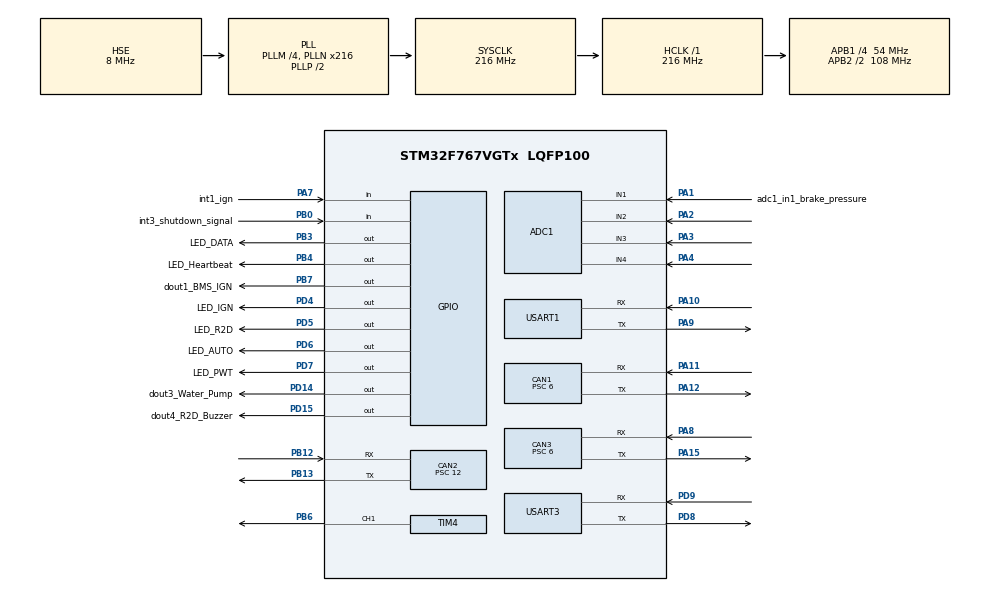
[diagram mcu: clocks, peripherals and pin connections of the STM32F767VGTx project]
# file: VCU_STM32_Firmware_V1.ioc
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ADC1.Channel-0\#ChannelRegularConversion=ADC_CHANNEL_1
ADC1.ContinuousConvMode=ENABLE
ADC1.DMAContinuousRequests=ENABLE
ADC1.EOCSelection=ADC_EOC_SEQ_CONV
ADC1.InjNumberOfConversion=0
ADC1.NbrOfConversion=1
ADC1.NbrOfConversionFlag=1
ADC1.Rank-0\#ChannelRegularConversion=1
ADC1.SamplingTime-0\#ChannelRegularConversion=ADC_SAMPLETIME_480CYCLES
ADC1.ScanConvMode=ADC_SCAN_ENABLE
ADC1.master=1
CAN1.ABOM=ENABLE
CAN1.BS1=CAN_BS1_6TQ
CAN1.BS2=CAN_BS2_2TQ
CAN1.CalculateBaudRate=1000000
CAN1.CalculateTimeBit=1000
CAN1.CalculateTimeQuantum=111.11111111111111
CAN1.NART=ENABLE
CAN1.Prescaler=6
CAN1.SJW=CAN_SJW_2TQ
CAN2.ABOM=ENABLE
CAN2.BS1=CAN_BS1_7TQ
CAN2.BS2=CAN_BS2_1TQ
CAN2.CalculateBaudRate=500000
CAN2.CalculateTimeBit=2000
CAN2.CalculateTimeQuantum=222.22222222222223
CAN2.NART=ENABLE
CAN2.Prescaler=12
CAN2.SJW=CAN_SJW_2TQ
CAN3.ABOM=ENABLE
CAN3.BS1=CAN_BS1_6TQ
CAN3.BS2=CAN_BS2_2TQ
CAN3.CalculateBaudRate=1000000
CAN3.CalculateTimeBit=1000
CAN3.CalculateTimeQuantum=111.11111111111111
CAN3.NART=ENABLE
CAN3.Prescaler=6
CAN3.SJW=CAN_SJW_2TQ
CORTEX_M7.BaseAddress-Cortex_Memory_Protection_Unit_Region0_Settings=0x30000000
CORTEX_M7.CPU_DCache=Enabled
CORTEX_M7.CPU_ICache=Enabled
CORTEX_M7.DisableExec-Cortex_Memory_Protection_Unit_Region0_Settings=MPU_INSTRUCTION_ACCESS_DISABLE
CORTEX_M7.Enable-Cortex_Memory_Protection_Unit_Region0_Settings=MPU_REGION_ENABLE
CORTEX_M7.IsShareable-Cortex_Memory_Protection_Unit_Region0_Settings=MPU_ACCESS_SHAREABLE
CORTEX_M7.MPU_Control=MPU_PRIVILEGED_DEFAULT
Dma.ADC1.0.Direction=DMA_PERIPH_TO_MEMORY
Dma.ADC1.0.FIFOMode=DMA_FIFOMODE_DISABLE
Dma.ADC1.0.Instance=DMA2_Stream0
Dma.ADC1.0.MemDataAlignment=DMA_MDATAALIGN_HALFWORD
Dma.ADC1.0.MemInc=DMA_MINC_ENABLE
Dma.ADC1.0.Mode=DMA_CIRCULAR
Dma.ADC1.0.PeriphDataAlignment=DMA_PDATAALIGN_HALFWORD
Dma.ADC1.0.PeriphInc=DMA_PINC_DISABLE
Dma.ADC1.0.Priority=DMA_PRIORITY_HIGH
Dma.Request0=ADC1
Mcu.Family=STM32F7
Mcu.Name=STM32F767VGTx
Mcu.Package=LQFP100
NVIC.ADC_IRQn=true\:0\:0\:false\:false\:true\:true\:true\:true
NVIC.CAN1_RX0_IRQn=true\:0\:0\:false\:false\:true\:true\:true\:true
NVIC.CAN2_RX0_IRQn=true\:0\:0\:false\:false\:true\:true\:true\:true
NVIC.CAN3_RX0_IRQn=true\:0\:0\:false\:false\:true\:true\:true\:true
NVIC.DMA2_Stream0_IRQn=true\:0\:0\:false\:false\:true\:false\:true\:true
NVIC.PriorityGroup=NVIC_PRIORITYGROUP_4
NVIC.TIM2_IRQn=true\:0\:0\:false\:false\:true\:true\:true\:true
PA1.GPIO_Label=adc1_in1_brake_pressure
PA1.Signal=ADCx_IN1
PA10.Mode=Asynchronous
PA10.Signal=USART1_RX
PA11.GPIO_PuPd=GPIO_NOPULL
PA11.GPIO_Speed=GPIO_SPEED_FREQ_MEDIUM
PA11.Mode=CAN_Activate
PA11.Signal=CAN1_RX
PA12.GPIO_Speed=GPIO_SPEED_FREQ_MEDIUM
PA12.Mode=CAN_Activate
PA12.Signal=CAN1_TX
PA13.Mode=Serial_Wire
PA13.Signal=SYS_JTMS-SWDIO
PA14.Mode=Serial_Wire
PA14.Signal=SYS_JTCK-SWCLK
PA15.GPIO_Speed=GPIO_SPEED_FREQ_MEDIUM
PA15.Mode=CAN_Activate
PA15.Signal=CAN3_TX
PA2.Signal=ADCx_IN2
PA3.Signal=ADCx_IN3
PA4.Signal=ADCx_IN4
PA7.GPIO_Label=int1_ign
PA7.Signal=GPIO_Input
PA8.GPIO_Mode=GPIO_MODE_AF_PP
PA8.GPIO_PuPd=GPIO_NOPULL
PA8.GPIO_Speed=GPIO_SPEED_FREQ_MEDIUM
PA8.Mode=CAN_Activate
PA8.Signal=CAN3_RX
PA9.Mode=Asynchronous
PA9.Signal=USART1_TX
PB0.GPIO_Label=int3_shutdown_signal
PB0.GPIO_PuPd=GPIO_PULLDOWN
PB0.Signal=GPIO_Input
PB12.GPIO_PuPd=GPIO_NOPULL
PB12.GPIO_Speed=GPIO_SPEED_FREQ_MEDIUM
PB12.Mode=CAN_Activate
PB12.Signal=CAN2_RX
PB13.GPIO_Speed=GPIO_SPEED_FREQ_MEDIUM
PB13.Mode=CAN_Activate
PB13.Signal=CAN2_TX
PB3.GPIO_Label=LED_DATA
PB3.Signal=GPIO_Output
PB4.GPIO_Label=LED_Heartbeat
PB4.Signal=GPIO_Output
PB6.Signal=S_TIM4_CH1
PB7.GPIO_Label=dout1_BMS_IGN
PB7.PinState=GPIO_PIN_RESET
PB7.Signal=GPIO_Output
PD14.GPIO_Label=dout3_Water_Pump
PD14.Signal=GPIO_Output
PD15.GPIO_Label=dout4_R2D_Buzzer
PD15.GPIO_Speed=GPIO_SPEED_FREQ_VERY_HIGH
PD15.Signal=GPIO_Output
PD4.GPIO_Label=LED_IGN
PD4.Signal=GPIO_Output
PD5.GPIO_Label=LED_R2D
PD5.Signal=GPIO_Output
PD6.GPIO_Label=LED_AUTO
PD6.Signal=GPIO_Output
PD7.GPIO_Label=LED_PWT
PD7.Signal=GPIO_Output
PD8.Mode=Asynchronous
PD8.Signal=USART3_TX
PD9.Mode=Asynchronous
PD9.Signal=USART3_RX
PH0/OSC_IN.Mode=HSE-External-Oscillator
PH0/OSC_IN.Signal=RCC_OSC_IN
PH1/OSC_OUT.Mode=HSE-External-Oscillator
PH1/OSC_OUT.Signal=RCC_OSC_OUT
ProjectManager.HeapSize=0x200
ProjectManager.StackSize=0x400
ProjectManager.TargetToolchain=STM32CubeIDE
RCC.AHBFreq_Value=216000000
RCC.APB1CLKDivider=RCC_HCLK_DIV4
RCC.APB1Freq_Value=54000000
RCC.APB1TimFreq_Value=108000000
RCC.APB2CLKDivider=RCC_HCLK_DIV2
RCC.APB2Freq_Value=108000000
RCC.APB2TimFreq_Value=216000000
RCC.CortexFreq_Value=216000000
RCC.HCLKFreq_Value=216000000
RCC.HSE_VALUE=8000000
RCC.HSI_VALUE=16000000
RCC.LSE_VALUE=32768
RCC.PLLM=4
RCC.PLLN=216
RCC.PLLSourceVirtual=RCC_PLLSOURCE_HSE
RCC.SYSCLKFreq_VALUE=216000000
RCC.SYSCLKSource=RCC_SYSCLKSOURCE_PLLCLK
RCC.USBFreq_Value=216000000
RCC.VCOOutputFreq_Value=432000000
SH.ADCx_IN1.0=ADC1_IN1,IN1
SH.ADCx_IN2.0=ADC1_IN2,IN2
SH.ADCx_IN3.0=ADC1_IN3,IN3
SH.ADCx_IN4.0=ADC1_IN4,IN4
SH.S_TIM4_CH1.0=TIM4_CH1,PWM Generation1 CH1
TIM1.Channel-PWM\ Generation1\ No\ Output=TIM_CHANNEL_1
TIM1.Prescaler=108-1
TIM2.Period=1000
TIM2.Prescaler=1080
TIM4.Channel-PWM\ Generation1\ CH1=TIM_CHANNEL_1
TIM4.OCPolarity_1=TIM_OCPOLARITY_HIGH
TIM4.Period=1080
TIM4.Prescaler=1080
USART1.VirtualMode-Asynchronous=VM_ASYNC
USART3.VirtualMode-Asynchronous=VM_ASYNC
VP_TIM1_VS_no_output1.Mode=PWM Generation1 No Output
VP_TIM2_VS_ClockSourceINT.Mode=Internal
VP_TIM4_VS_ClockSourceINT.Mode=Internal
board=custom

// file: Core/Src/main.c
/* USER CODE BEGIN Header */
/**
 ******************************************************************************
 * @file           : main.c
 * @brief          : Main program body
 ******************************************************************************
 * @attention
 *
 * Copyright (c) 2025 STMicroelectronics.
 * All rights reserved.
 *
 * This software is licensed under terms that can be found in the LICENSE file
 * in the root directory of this software component.
 * If no LICENSE file comes with this software, it is provided AS-IS.
 *
 ******************************************************************************
 */
/* USER CODE END Header */
#include "main.h"
#include "adc.h"
#include "can.h"
#include "dma.h"
#include "tim.h"
#include "usart.h"
#include "gpio.h"

/* USER CODE BEGIN Includes */
/* -------------------- CONFIGURATION DEFINES -------------------- */
// All APPS settings (calibration, hysteresis, moving average, CAN timeout) are in APPS.h
/*----CAN SAFETY TIMEOUTS----*/
// UNCOMMENT IF YOU WANT COMMUNICATIONS CHECKS ON R2D
// #define MAX_R2D_IGN_TIMEOUT_MS 50 //TIMEOUT for IGN and R2D loss of communication
/*---------------------------*/

// Throttle control (map, regen, torque ramp, BSPD override) is in throttle_control.h

#define print_state 0
#define print_variables 0
#define print_apps 0

#define CAN_DATA_BUS &hcan1
#define CAN_POWERTRAIN_BUS &hcan2
#define CAN_AUTONOMOUS &hcan3

/* BYPASS VARIABLES*/
// Bypass_brake_pressure and BRAKE_PRESSURE_THRESHOLD now live in CAN_utils.h -
// the R2D brake gate is applied in CAN_utils.c, not here.
#define Bypass_precharge 0

#define SHUTDOWN_DEBOUNCE_TIME_MS 50  // Shutdown signal debounce time in milliseconds
#define IGNITION_DEBOUNCE_TIME_MS 50  // Ignition switch debounce time in milliseconds

#define MAX_RPM_AD 1800  // 44.17 km/h
#define AS_CMD_TIMEOUT_MS 500  // No RPM/torque target from the Jetson for this long -> zero current

#define PUTCHAR_PROTOTYPE int __io_putchar(int ch)

#pragma region Includes
/* -------------------- STANDARD INCLUDES -------------------- */
#include <stdbool.h>
#include <stdint.h>
#include <stdio.h>
#include <stm32f767xx.h>
#include <stm32f7xx_hal_can.h>
#include <stm32f7xx_hal_cortex.h>
#include <string.h>

/* -------------------- PROJECT INCLUDES -------------------- */
#include "../Inc/proportional_integral_controller.h"
#include "APPS.h"
#include "CAN_utils.h"
#include "bspd.h"
#include "can_driver.h"
#include "can_queue.h"
#include "pau_control.h"
#include "throttle_control.h"
#include "traction_control_torque_vectoring.h"

#pragma endregion Includes
/* -------------------- GLOBAL VARIABLES -------------------- */
#pragma region Global Variables
// ADC buffers
__attribute__((section(".adcarray")))  uint16_t ADC1_VAL[4];
//__attribute__((section(".adcarray"))) uint16_t ADC2_APPS[2];  // ADC2_IN5(apps 1) and ADC2_IN6(apps 2)

// APPS moving average variables
uint16_t apps1_buffer[APPS_MA_WINDOW_SIZE];
uint16_t apps2_buffer[APPS_MA_WINDOW_SIZE];
uint8_t apps_buffer_pos = 0;
uint16_t apps1_avg = 0;
uint16_t apps2_avg = 0;

// UNCOMMENT IF YOU WANT COMMUNICATIONS CHECKS ON R2D
// volatile uint32_t last_r2d_ign_can_rx_time = 0; //keeps track of the last time a valid 0x740 message came through

int value = 0;

// CAN variables
CAN_TxHeaderTypeDef TxHeader_CAN1;
uint8_t TxData_CAN1[8];
uint32_t TxMailbox_CAN1;

CAN_TxHeaderTypeDef TxHeader_CAN2;
uint8_t TxData_CAN2[8];
uint32_t TxMailbox_CAN2;

CAN_TxHeaderTypeDef TxHeader_CAN3;
uint8_t TxData_CAN3[8];
uint32_t TxMailbox_CAN3;

CAN_RxHeaderTypeDef RxHeader;
uint8_t RxData[8];

can_data_t can_data1;  // CAN data structure for CAN1
can_data_t can_data2;  // CAN data structure for CAN2
can_data_t can_data3;  // CAN data structure for CAN3

volatile bool can1_rx_flag = false;
volatile bool can2_rx_flag = false;
volatile bool can3_rx_flag = false;

APPS_Result_t result = { 0 };  // Result structure for APPS processing

bspd_state_t bspd_state;

// vars on can utils file
volatile FSIC_t myFSIC1;  // Rear-left inverter
volatile FSIC_t myFSIC2;  // Rear-right inverter
volatile AS_System_t as_system;
volatile ACU_t acu;
volatile RES_t res;
volatile BMSvars_t bms;
volatile IVT_t ivt;

/* -------------------- STATE MACHINE DEFINITIONS -------------------- */
// State machine variables
VCU_STATE_t current_state = STATE_INIT;   // Current state of the VCU
VCU_STATE_t previous_state = STATE_INIT;  // Previous state of the VCU

// State names for debug output
const char *state_names[] = { "STATE_INIT", "STATE_SHUTDOWN", "STATE_STANDBY", "STATE_PRECHARGE", "STATE_WAITING_FOR_R2D_MANUAL", "STATE_WAITING_FOR_R2D_AUTO", "STATE_READY_MANUAL", "STATE_READY_AUTONOMOUS", "STATE_AS_EMERGENCY" };

//Loop-Counter
#define TEST_TIMEFRAME_SECONDS 600
uint32_t loop_counter = 0;
uint32_t sec = 0;
uint32_t loops_per_sec = 0;
uint32_t loop_DATA[TEST_TIMEFRAME_SECONDS];

#pragma endregion Global Variables

/* USER CODE END Includes */

void SystemClock_Config(void);
static void MPU_Config(void);
/* USER CODE BEGIN PFP */
void HAL_ADC_ConvCpltCallback(ADC_HandleTypeDef *hadc) {
	// Process the data
}

// Timed task function declarations
void execute_10ms_tasks(void);
void execute_100ms_tasks(void);
void execute_immediate_tasks(void);
void process_can_rx_queues(void);

// Button debounce function declaration
// void debounce_r2d_button(void);
void debounce_shutdown_signal(void);
// void debounce_ignition_switch(void);
#pragma endregion Function Prototypes
/* USER CODE END PFP */

/* USER CODE BEGIN 0 */

/* -------------------- SENSOR FUNCTIONS -------------------- */
/**
 * @brief Measure the brake pressure from an ADC reading
 * @param bits Raw ADC value (12-bit resolution, 0-4095)
 * @return Calculated brake pressure in bar
 * @details Converts ADC reading to voltage, then to pressure using calibration formula.
 *          Sensor characteristics: 28.57mV/bar with 0.5V offset (0 bar = 0.5V)
 */

/*
 float MeasureBrakePressure(uint16_t bits) {
 // Constants for clarity
 const float ADC_MAX = 4095.0f;
 const float MCU_VREF = 3.3f;             // MCU reference voltage
 const float SENSOR_VREF = 5.0f;          // Sensor reference voltage
 const float CONVERSION_FACTOR = 0.667f;  // Factor to convert 3.3V to 5V scale
 const float OFFSET_VOLTAGE = 0.5f;       // 0 bar = 0.5V
 const float SENSITIVITY = 0.02857f;      // 28.57mV/bar

 // Calculate voltage from ADC reading (0-3.3V range)
 float volts = (float)bits * MCU_VREF / ADC_MAX;

 // Scale to sensor voltage range (0-5V)
 volts = volts / CONVERSION_FACTOR;

 // Apply boundary checking for voltage
 if (volts < 0.0f) {
 volts = 0.0f;
 } else if (volts > SENSOR_VREF) {
 volts = SENSOR_VREF;
 }

 // Calculate pressure from voltage using calibration formula:
 // P(bar) = (V - 0.5V) / 0.02857V/bar
 float pressure = 0.0f;
 if (volts <= OFFSET_VOLTAGE) {
 pressure = 0.0f;  // Anything below offset voltage is 0 bar
 } else {
 pressure = (volts - OFFSET_VOLTAGE) / SENSITIVITY;
 }

 // Limit maximum pressure if needed
 const float MAX_PRESSURE = 250.0f;  // Maximum measurable pressure
 if (pressure > MAX_PRESSURE) {
 pressure = MAX_PRESSURE;
 }

 return pressure;  // Return the brake pressure in bar
 }*/

/**
 * @brief Controls the brake light based on brake pressure and regenerative braking
 * @param brake_pressure Current brake pressure in bar
 * @details Turns the brake light on when pressure exceeds minimum threshold
 *          or when regenerative braking is active (negative current from FSIC_t)
 */
void turn_on_brake_light(uint8_t brake_pressure) {
	// Define thresholds for brake light activation (can be adjusted as needed)
	const uint8_t BRAKE_LIGHT_THRESHOLD = 5;     // bar
	const int16_t REGEN_CURRENT_THRESHOLD = -2;  // Negative current threshold for regen braking (A)

	// Check if brake pressure exceeds threshold OR regenerative braking is active
	bool physical_braking = (brake_pressure >= BRAKE_LIGHT_THRESHOLD);
	// SAFETY-CRITICAL: Regen braking detection — sum DC current from both inverters
	int16_t total_dc_current = (int16_t) (myFSIC1.Actual_DCCurrent + myFSIC2.Actual_DCCurrent);
	bool regen_braking = (total_dc_current < REGEN_CURRENT_THRESHOLD);

	if (physical_braking || regen_braking) {
		// Turn brake light on
		HAL_GPIO_WritePin(dout1_BMS_IGN_GPIO_Port, dout1_BMS_IGN_Pin, GPIO_PIN_SET);
	} else {
		// Turn brake light off
		HAL_GPIO_WritePin(dout1_BMS_IGN_GPIO_Port, dout1_BMS_IGN_Pin, GPIO_PIN_RESET);
	}
}

/**
 * @brief Initialize moving average buffers for APPS
 */
void MovingAverage_Init(void) {
	for (int i = 0; i < APPS_MA_WINDOW_SIZE; i++) {
		apps1_buffer[i] = 0;
		apps2_buffer[i] = 0;
	}
	apps_buffer_pos = 0;
	apps1_avg = 0;
	apps2_avg = 0;
}

/**
 * @brief Update moving average with new APPS values
 * @param apps1_raw Raw value from APPS1 sensor
 * @param apps2_raw Raw value from APPS2 sensor
 * @return None, updates apps1_avg and apps2_avg global variables
 */
void MovingAverage_Update(uint16_t apps1_raw, uint16_t apps2_raw) {
	// Add new values to buffers
	apps1_buffer[apps_buffer_pos] = apps1_raw;
	apps2_buffer[apps_buffer_pos] = apps2_raw;

	// Update position for next entry
	apps_buffer_pos = (apps_buffer_pos + 1) % APPS_MA_WINDOW_SIZE;

	// Calculate averages
	uint32_t sum1 = 0;
	uint32_t sum2 = 0;

	for (int i = 0; i < APPS_MA_WINDOW_SIZE; i++) {
		sum1 += apps1_buffer[i];
		sum2 += apps2_buffer[i];
	}

	apps1_avg = (uint16_t) (sum1 / APPS_MA_WINDOW_SIZE);
	apps2_avg = (uint16_t) (sum2 / APPS_MA_WINDOW_SIZE);
}

/* -------------------- LED CONTROL FUNCTIONS -------------------- */
/**
 * @brief Heartbeat indicator with non-blocking double blink pattern
 * @param GPIO_Port GPIO port of the LED
 * @param GPIO_Pin GPIO pin of the LED
 */
void heartbeat_nonblocking(GPIO_TypeDef *GPIO_Port, uint16_t GPIO_Pin) {
	static uint32_t previous_tick = 0;
	static uint8_t state = 0;

	uint32_t current_tick = HAL_GetTick();

	// State transitions based on timing
	switch (state) {
	case 0:  // First blink ON
		HAL_GPIO_WritePin(GPIO_Port, GPIO_Pin, GPIO_PIN_SET);
		if (current_tick - previous_tick >= 100) {  // 100ms ON
			previous_tick = current_tick;
			state = 1;
		}
		break;

	case 1:  // First blink OFF
		HAL_GPIO_WritePin(GPIO_Port, GPIO_Pin, GPIO_PIN_RESET);
		if (current_tick - previous_tick >= 100) {  // 100ms OFF
			previous_tick = current_tick;
			state = 2;
		}
		break;

	case 2:  // Second blink ON
		HAL_GPIO_WritePin(GPIO_Port, GPIO_Pin, GPIO_PIN_SET);
		if (current_tick - previous_tick >= 100) {  // 100ms ON
			previous_tick = current_tick;
			state = 3;
		}
		break;

	case 3:  // Second blink OFF
		HAL_GPIO_WritePin(GPIO_Port, GPIO_Pin, GPIO_PIN_RESET);
		if (current_tick - previous_tick >= 100) {  // 100ms OFF
			previous_tick = current_tick;
			state = 4;
		}
		break;

	case 4:                                         // Long pause
		if (current_tick - previous_tick >= 500) {  // 500ms pause
			previous_tick = current_tick;
			state = 0;  // Restart cycle
		}
		break;
	}
}

/**
 * @brief LED startup animation
 * @note  This function performs a startup animation for the LEDs.
 */
void startup_leds_animation(void) {
	// LED startup animation
	HAL_GPIO_WritePin(GPIOD, LED_IGN_Pin, GPIO_PIN_SET);
	HAL_Delay(40);
	HAL_GPIO_WritePin(GPIOD, LED_R2D_Pin, GPIO_PIN_SET);
	HAL_Delay(40);
	HAL_GPIO_WritePin(GPIOD, LED_AUTO_Pin, GPIO_PIN_SET);
	HAL_Delay(40);
	HAL_GPIO_WritePin(GPIOD, LED_PWT_Pin, GPIO_PIN_SET);
	HAL_Delay(40);
	HAL_GPIO_WritePin(GPIOB, LED_DATA_Pin, GPIO_PIN_SET);
	HAL_Delay(40);
	HAL_GPIO_WritePin(GPIOB, LED_Heartbeat_Pin, GPIO_PIN_SET);
	HAL_Delay(350);
	HAL_GPIO_WritePin(GPIOB, LED_Heartbeat_Pin, GPIO_PIN_RESET);
	HAL_Delay(40);
	HAL_GPIO_WritePin(GPIOB, LED_DATA_Pin, GPIO_PIN_RESET);
	HAL_Delay(40);
	HAL_GPIO_WritePin(GPIOD, LED_PWT_Pin, GPIO_PIN_RESET);
	HAL_Delay(40);
	HAL_GPIO_WritePin(GPIOD, LED_AUTO_Pin, GPIO_PIN_RESET);
	HAL_Delay(40);
	HAL_GPIO_WritePin(GPIOD, LED_R2D_Pin, GPIO_PIN_RESET);
	HAL_Delay(40);
	HAL_GPIO_WritePin(GPIOD, LED_IGN_Pin, GPIO_PIN_RESET);
	HAL_Delay(40);

	// Turn off all LEDs
	HAL_GPIO_WritePin(GPIOD, LED_IGN_Pin, GPIO_PIN_RESET);
	HAL_GPIO_WritePin(GPIOD, LED_R2D_Pin, GPIO_PIN_RESET);
	HAL_GPIO_WritePin(GPIOD, LED_AUTO_Pin, GPIO_PIN_RESET);
	HAL_GPIO_WritePin(GPIOD, LED_PWT_Pin, GPIO_PIN_RESET);
	HAL_GPIO_WritePin(GPIOB, LED_DATA_Pin, GPIO_PIN_RESET);
}

/**
 * @brief Fade LED in and out using software PWM
 * @param GPIO_Port GPIO port of the LED
 * @param GPIO_Pin GPIO pin of the LED
 */
void led_fade_nonblocking(GPIO_TypeDef *GPIO_Port, uint16_t GPIO_Pin) {
	static uint32_t last_update_time = 0;
	static uint32_t fade_counter = 0;
	static uint32_t pwm_counter = 0;
	static const uint32_t PWM_PERIOD = 5;    // PWM period for software PWM
	static const uint32_t FADE_PERIOD = 50;  // How fast the LED brightness changes

	uint32_t current_time = HAL_GetTick();

	// Update fade counter (determines brightness level)
	if (current_time - last_update_time >= FADE_PERIOD) {
		fade_counter = (fade_counter + 1) % 200;  // 0-199 range for smooth transition
		last_update_time = current_time;
		pwm_counter = 0;  // Reset PWM counter on brightness change
	}

	// Calculate current brightness level (0-100)
	uint32_t brightness;
	if (fade_counter < 100) {
		brightness = fade_counter;  // Fade in (0-99)
	} else {
		brightness = 200 - fade_counter;  // Fade out (99-0)
	}

	// Implement software PWM
	pwm_counter = (pwm_counter + 2) % PWM_PERIOD;

	if (pwm_counter < brightness) {
		HAL_GPIO_WritePin(GPIO_Port, GPIO_Pin, GPIO_PIN_SET);  // Turn LED on
	} else {
		HAL_GPIO_WritePin(GPIO_Port, GPIO_Pin, GPIO_PIN_RESET);  // Turn LED off
	}
}

/**
 * @brief Update PWM value for LED fading effect using hardware timer
 * @param htim PWM timer handle
 * @param channel Timer channel to update
 */
void led_fade_pwm(TIM_HandleTypeDef *htim, uint32_t channel) {
	static uint32_t last_update_time = 0;
	static uint16_t brightness = 0;
	static int8_t direction = 1;                  // 1 = increasing, -1 = decreasing
	static const uint32_t FADE_PERIOD = 1;        // Update interval in ms
	static const uint16_t MAX_BRIGHTNESS = 1000;  // Maximum PWM value

	uint32_t current_time = HAL_GetTick();

	// Update PWM value at regular intervals
	if (current_time - last_update_time >= FADE_PERIOD) {
		last_update_time = current_time;

		// Update brightness based on current direction
		brightness += direction;

		// Change direction at limits
		if (brightness >= MAX_BRIGHTNESS) {
			direction = -1;  // Start decreasing
		} else if (brightness <= 0) {
			direction = 1;  // Start increasing
		}

		// Apply new PWM value (constraining to valid range)
		if (brightness > MAX_BRIGHTNESS)
			brightness = MAX_BRIGHTNESS;
		if (brightness < 0)
			brightness = 0;

		__HAL_TIM_SET_COMPARE(htim, channel, brightness);
	}
}

/* -------------------- R2D SOUND FUNCTIONS -------------------- */
/**
 * @brief Start playing the Ready-To-Drive sound
 * @details This function activates the buzzer to play the R2D sound
 *          as required by EV4.12 regulations (80-90 dBA, 1-3 seconds).
 */
void StartR2DSound(void) {
	// Activate only if not already playing
	if (!vcu.r2d_sound_playing && !vcu.r2d_sound_completed) {
		vcu.r2d_sound_playing = true;
		vcu.r2d_sound_start_time = HAL_GetTick();

		// Activate buzzer - set the GPIO pin that controls the buzzer
		HAL_GPIO_WritePin(GPIOD, dout4_R2D_Buzzer_Pin, GPIO_PIN_SET);

		DBG_PRINTF("\n\rR2D Sound: Started\n\r");
	}
}

/**
 * @brief Update the Ready-To-Drive sound state
 * @details Checks if R2D sound needs to be stopped based on timing
 *          requirements (1-3 seconds continuous sound).
 */
void UpdateR2DSound(void) {
	// If sound is playing, check if it's time to stop
	if (vcu.r2d_sound_playing) {
		uint32_t current_time = HAL_GetTick();
		uint32_t elapsed_time = current_time - vcu.r2d_sound_start_time;

		// Sound duration: 2 seconds (2000 ms)
		if (elapsed_time >= 1000) {
			// Stop the sound
			HAL_GPIO_WritePin(GPIOD, dout4_R2D_Buzzer_Pin, GPIO_PIN_RESET);
			vcu.r2d_sound_playing = false;
			vcu.r2d_sound_completed = true;

			DBG_PRINTF("\n\rR2D Sound: Completed\n\r");
		}
	}
}

/**
 * @brief Reset the Ready-To-Drive sound state
 * @details Resets the R2D sound flags when leaving a ready state.
 */
void ResetR2DSound(void) {
	vcu.r2d_sound_playing = false;
	vcu.r2d_sound_completed = false;
	HAL_GPIO_WritePin(GPIOD, dout4_R2D_Buzzer_Pin, GPIO_PIN_RESET);
}

/**
 * @brief Start playing the Emergency sound
 * @details This function activates the buzzer to play an intermittent emergency sound
 *          with frequency 1-5Hz, 50% duty cycle, for 8-10 seconds.
 */
void StartEmergencySound(void) {
	// Only start if not already playing
	if (!vcu.emergency_sound_playing && !vcu.emergency_sound_completed) {
		vcu.emergency_sound_playing = true;
		vcu.emergency_sound_start_time = HAL_GetTick();
		vcu.emergency_sound_last_toggle = HAL_GetTick();
		vcu.emergency_sound_state = true;  // Start with buzzer ON

		// Activate buzzer
		HAL_GPIO_WritePin(GPIOD, dout4_R2D_Buzzer_Pin, GPIO_PIN_SET);

		DBG_PRINTF("\n\rEmergency Sound: Started\n\r");
	}
}

/**
 * @brief Update the Emergency sound state
 * @details Manages the intermittent pattern (1-5Hz, 50% duty cycle) and duration (8-10s)
 *          of the emergency sound.
 */
void UpdateEmergencySound(void) {
	if (vcu.emergency_sound_playing) {
		uint32_t current_time = HAL_GetTick();
		uint32_t total_elapsed_time = current_time - vcu.emergency_sound_start_time;
		uint32_t toggle_elapsed_time = current_time - vcu.emergency_sound_last_toggle;

		// Using 2.5Hz frequency (200ms ON, 200ms OFF)
		const uint32_t TOGGLE_INTERVAL_MS = 200;

		// Toggle buzzer state at specified frequency (2.5Hz)
		if (toggle_elapsed_time >= TOGGLE_INTERVAL_MS) {
			vcu.emergency_sound_state = !vcu.emergency_sound_state;
			HAL_GPIO_WritePin(GPIOD, dout4_R2D_Buzzer_Pin, vcu.emergency_sound_state ? GPIO_PIN_SET : GPIO_PIN_RESET);
			vcu.emergency_sound_last_toggle = current_time;
		}

		// Total sound duration: 9 seconds
		const uint32_t EMERGENCY_SOUND_DURATION_MS = 9000;

		// Stop sound after duration completes
		if (total_elapsed_time >= EMERGENCY_SOUND_DURATION_MS) {
			// Stop the sound
			HAL_GPIO_WritePin(GPIOD, dout4_R2D_Buzzer_Pin, GPIO_PIN_RESET);
			vcu.emergency_sound_playing = false;
			vcu.emergency_sound_completed = true;

			DBG_PRINTF("\n\rEmergency Sound: Completed\n\r");
		}
	}
}

/**
 * @brief Reset the Emergency sound state
 * @details Resets the emergency sound flags when leaving the emergency state.
 */
void ResetEmergencySound(void) {
	vcu.emergency_sound_playing = false;
	vcu.emergency_sound_completed = false;
	vcu.emergency_sound_state = false;
	HAL_GPIO_WritePin(GPIOD, dout4_R2D_Buzzer_Pin, GPIO_PIN_RESET);
}

/**
 * @brief Handle emergency stop condition
 * @details Sounds the buzzer with required pattern if an emergency stop is detected
 */
void HandleEmergencyStop(void) {
	if ((acu.is_in_emergency == 1) || (as_system.state == 4) || (res.signal == 0)) {
		// Start emergency sound if not already playing or completed
		if (!vcu.emergency_sound_playing && !vcu.emergency_sound_completed) {
			StartEmergencySound();
			// Disable R2D state
			vcu.r2d_toggle_signal = false;
			vcu.r2d_autonomous_signal = false;
		}

		// Update emergency sound pattern
		UpdateEmergencySound();
	} else {
		// Reset emergency sound state when emergency condition clears
		ResetEmergencySound();
	}
}

/* -------------------- STATE MACHINE FUNCTIONS -------------------- */
/**
 * @brief Print state transition for debugging
 * @param from Previous state
 * @param to New state
 */
void print_state_transition(VCU_STATE_t from, VCU_STATE_t to) {
	DBG_PRINTF("\n\rState transition: %s -> %s\n", state_names[from], state_names[to]);
}

#pragma region UPDATE STATE

/**
 * @brief Update the state of the VCU based on inputs and conditions
 */
void UpdateState(void) {
	// Store current state for change detection
	previous_state = current_state;

	// Process emergency condition with highest priority
	if (((acu.is_in_emergency == 1) || (as_system.state == 4) || (res.signal == 0)) && current_state != STATE_AS_EMERGENCY) {
		// if ((acu.is_in_emergency == 1) || (as_system.state == 4) && current_state != STATE_AS_EMERGENCY) {
		current_state = STATE_AS_EMERGENCY;
	}

	// NO LONGER NEEDED
	debounce_shutdown_signal();  // Update shutdown signal with debounce
	// debounce_ignition_switch();         // Update ignition switch signal with debounce
	// Map ignition_ad directly from ACU signal
	vcu.ignition_ad = acu.ignition_ad;

	// State transitions
	switch (current_state) {
	case STATE_INIT:

		if (vcu.ignition_switch_signal || vcu.ignition_ad) {
			current_state = STATE_INIT;
		} else {
			current_state = STATE_STANDBY;  // Transition to standby state after initialization
		}

		break;

	case STATE_SHUTDOWN:
		// In shutdown state, wait for shutdown signal to be cleared and ignition to be off
		if (vcu.shutdown_signal && !vcu.ignition_switch_signal && !vcu.ignition_ad) {
			current_state = STATE_STANDBY;  // Transition to standby state
		}
		break;

	case STATE_STANDBY:
		// if precharge is request either for manual or autonomous mode start the precharge

		if (vcu.ignition_switch_signal && vcu.shutdown_signal && !acu.ASMS) {
			current_state = STATE_PRECHARGE;  // Transition to precharge state
			vcu.manual = true;                // Set manual mode
			vcu.autonomous = false;           // Clear autonomous mode
		} else if (vcu.ignition_ad && acu.ASMS && vcu.shutdown_signal) {
			current_state = STATE_PRECHARGE;  // Transition to precharge state
			vcu.manual = false;               // Clear manual mode
			vcu.autonomous = true;            // Set autonomous mode
		}
		break;

	case STATE_PRECHARGE:
		// when the precharge is done, wait for the ready to drive signal to start the ready to drive
		// either from manual or autonomous mode-

		// Check if precharge is complete
		if ((!vcu.ignition_switch_signal && !vcu.ignition_ad) || !vcu.shutdown_signal) {
			current_state = STATE_STANDBY;
			if (!vcu.shutdown_signal) {
				current_state = STATE_SHUTDOWN;
			}
		} else if (Bypass_precharge || bms.precharge_circuit_state == 16) {
			current_state = vcu.manual ? STATE_WAITING_FOR_R2D_MANUAL : STATE_WAITING_FOR_R2D_AUTO;
		}
		break;
	case STATE_WAITING_FOR_R2D_MANUAL:

		if (!vcu.ignition_switch_signal || !vcu.shutdown_signal) {
			current_state = STATE_STANDBY;
			if (!vcu.shutdown_signal) {
				current_state = STATE_SHUTDOWN;
			}
		} else if (vcu.r2d_toggle_signal) {
			// Brake-plausibility gate already applied in CAN_utils.c when the toggle flips
			current_state = STATE_READY_MANUAL;
		}
		break;

	case STATE_WAITING_FOR_R2D_AUTO:
		if (!vcu.ignition_ad || !vcu.shutdown_signal) {
			current_state = STATE_STANDBY;
			if (!vcu.shutdown_signal) {
				current_state = STATE_SHUTDOWN;
			}
		} else if (as_system.state == 3) {  // driving state
			current_state = STATE_READY_AUTONOMOUS;
		}
		break;

	case STATE_READY_MANUAL:
		// debounce_r2d_button();
		if (!vcu.ignition_switch_signal || !vcu.shutdown_signal) {
			// Change to standby if ignition is off
			current_state = STATE_STANDBY;
			if (!vcu.shutdown_signal) {
				current_state = STATE_SHUTDOWN;
			}
		} else if (!vcu.r2d_toggle_signal) {
			// Change to waiting for R2D manual if the button is pressed again
			current_state = STATE_WAITING_FOR_R2D_MANUAL;
		}
		break;

	case STATE_READY_AUTONOMOUS:
		// serve as gateway to the computer to send the commands to the inverter
		if (!vcu.ignition_ad) {
			current_state = STATE_STANDBY;
		} else if (as_system.state != 3 && as_system.state != 5) {
			current_state = STATE_WAITING_FOR_R2D_AUTO;
		}

		// as_system.state = 5 finish autonoma

		// if (!vcu.ignition_ad || !vcu.shutdown_signal) {
		//     current_state = STATE_STANDBY;
		//     if (!vcu.shutdown_signal) {
		//         current_state = STATE_SHUTDOWN;
		//     }
		// } else if (as_system.state != 3) {
		//     current_state = STATE_WAITING_FOR_R2D_AUTO;
		// }
		break;

	case STATE_AS_EMERGENCY:
		// printf("\n\rAS Emergency: %d\n\r", as_system.state);

		// Only exit emergency state when the 9-second sound has completed
		if (!(acu.is_in_emergency) && !(as_system.state == 4) && !(res.signal == 0)) {
			current_state = STATE_STANDBY;
			if (!vcu.shutdown_signal) {
				current_state = STATE_SHUTDOWN;
			}
		}

		// if (!vcu.ignition_ad || !vcu.shutdown_signal) {
		//     // current_state = STATE_STANDBY;
		//     // if (!vcu.shutdown_signal) {
		//     //     // so quando o tocar todo o som da emergencia é que vai para shutdown
		//     //     if (vcu.emergency_sound_completed) {
		//     //         current_state = STATE_SHUTDOWN;
		//     //     }
		//     // }
		// } else if (as_system.state != 4 && res.signal != 0) {
		//     current_state = STATE_STANDBY;
		// }

		// if (!vcu.ignition_ad || !vcu.shutdown_signal) {
		//     current_state = STATE_STANDBY;
		//     if (!vcu.shutdown_signal) {
		//         // so quando o tocar todo o som da emergencia é que vai para shutdown
		//         if (vcu.emergency_sound_completed) {
		//             current_state = STATE_SHUTDOWN;
		//         }
		//     }
		// } else if (as_system.state != 4 && res.signal != 0) {
		//     current_state = STATE_STANDBY;
		// }
		break;
	}

	// Execute entry actions when state has changed
	if (current_state != previous_state) {
#ifdef print_state
		print_state_transition(previous_state, current_state);
#endif
		// Leaving manual ready-to-drive (R2D off, ignition, shutdown, emergency): zero the
		// inverter current request so the inverters do not keep the last drive/regen command
		if (previous_state == STATE_READY_MANUAL || previous_state == STATE_READY_AUTONOMOUS) {
			throttle_control_stop(&hcan2);
		}

		// State entry actions
		switch (current_state) {
		case STATE_INIT:
			break;
		case STATE_SHUTDOWN:
		case STATE_STANDBY:
			can_bus_send_bms_close_contactors(0, &hcan2);
			// Reset critical flags when entering standby
			vcu.manual = false;
			vcu.autonomous = false;

			memset(&vcu, 0, sizeof(VCU_Signals_t));             // Reset all VCU signals
			memset((void*) &as_system, 0, sizeof(AS_System_t));  // Reset autonomous system state
			memset((void*) &acu, 0, sizeof(ACU_t));              // Reset ACU state
			// memset(&res, 0, sizeof(RES_t));              // Reset RES state
			// memset(&bms, 0, sizeof(BMSvars_t));  // Reset BMS variables
			memset((void*) &myFSIC1, 0, sizeof(FSIC_t));  // Reset FSIC INV1 variables
			memset((void*) &myFSIC2, 0, sizeof(FSIC_t));  // Reset FSIC INV2 variables

			vcu.r2d_toggle_signal = false;      // Reset R2D toggle signal
			vcu.r2d_autonomous_signal = false;  // Reset R2D autonomous signal
			ResetR2DSound();                    // Reset R2D sound state

			HAL_GPIO_WritePin(GPIOD, LED_IGN_Pin, GPIO_PIN_RESET);
			HAL_GPIO_WritePin(GPIOD, LED_R2D_Pin, GPIO_PIN_RESET);

			__HAL_TIM_SET_COMPARE(&htim4, TIM_CHANNEL_1, 0);  // Set PWM to 0% duty cycle
			break;

		case STATE_PRECHARGE:
			// Precharge state entry actions
			HAL_GPIO_WritePin(GPIOD, LED_IGN_Pin, GPIO_PIN_SET);  // Turn on ignition LED debug
			__HAL_TIM_SET_COMPARE(&htim4, TIM_CHANNEL_1, 0);      // Set PWM to 0% duty cycle

			break;

		case STATE_WAITING_FOR_R2D_AUTO:
		case STATE_WAITING_FOR_R2D_MANUAL:

			HAL_GPIO_WritePin(GPIOD, LED_R2D_Pin, GPIO_PIN_RESET);  // Turn off R2D LED
			ResetR2DSound();                                        // Reset R2D sound state

			break;

		case STATE_READY_MANUAL:
		case STATE_READY_AUTONOMOUS:

			throttle_control_reset();  // Start every drive with no torque and fresh ramps
			__HAL_TIM_SET_COMPARE(&htim4, TIM_CHANNEL_1, 1000);
			HAL_GPIO_WritePin(GPIOD, LED_R2D_Pin, GPIO_PIN_SET);
			StartR2DSound();

			break;

		case STATE_AS_EMERGENCY:
			can_bus_send_bms_close_contactors(0, &hcan2);

			break;
		}
	}
}
#pragma endregion UPDATE STATE

#pragma region HANDLE STATE
/**
 * @brief Handle actions specific to the current state
 */
void HandleState(void) {
	// Update R2D sound status if it's playing
	UpdateR2DSound();

	switch (current_state) {
	case STATE_INIT:
		// Initialization actions
		break;
	case STATE_SHUTDOWN:

		static uint32_t last_can_send_time_shutdown = 0;
		uint32_t current_time_shutdown = HAL_GetTick();
		if (current_time_shutdown - last_can_send_time_shutdown >= 1) {
			can_bus_send_bms_close_contactors(0, &hcan2);
			last_can_send_time_shutdown = current_time_shutdown;
		}

		break;

	case STATE_STANDBY:
		static uint32_t last_can_send_time_standby = 0;
		uint32_t current_time_standby = HAL_GetTick();
		if (current_time_standby - last_can_send_time_standby >= 1) {
			can_bus_send_bms_close_contactors(0, &hcan2);
			last_can_send_time_standby = current_time_standby;
		}

		break;

	case STATE_PRECHARGE:
		// Handle precharge process

		static uint32_t last_can_send_time_precharge = 0;
		uint32_t current_time_precharge = HAL_GetTick();
		if (current_time_precharge - last_can_send_time_precharge >= 10) {
			can_bus_send_bms_close_contactors(1, &hcan2);
			last_can_send_time_precharge = current_time_precharge;
		}

		break;

	case STATE_WAITING_FOR_R2D_MANUAL:
		// fade in and out the R2D LED
		led_fade_nonblocking(GPIOD, LED_R2D_Pin);
		led_fade_pwm(&htim4, TIM_CHANNEL_1);

		static uint32_t last_can_send_time_r2d_manual = 0;
		uint32_t current_time_r2d_manual = HAL_GetTick();
		if (current_time_r2d_manual - last_can_send_time_r2d_manual >= 10) {
			can_bus_send_bms_close_contactors(1, &hcan2);
			last_can_send_time_r2d_manual = current_time_r2d_manual;
		}

		break;

	case STATE_WAITING_FOR_R2D_AUTO:
		// Waiting indicator for autonomous mode
		led_fade_nonblocking(GPIOD, LED_R2D_Pin);
		led_fade_pwm(&htim4, TIM_CHANNEL_1);

		static uint32_t last_can_send_time_r2d_auto = 0;
		uint32_t current_time_r2d_auto = HAL_GetTick();

		if (current_time_r2d_auto - last_can_send_time_r2d_auto >= 10) {
			can_bus_send_bms_close_contactors(1, &hcan2);
			last_can_send_time_r2d_auto = current_time_r2d_auto;
		}
		break;

	case STATE_READY_MANUAL:
		// Process manual driving controls
		// Send pedal position to inverter

		static uint32_t last_can_send_time_manuel = 0;
		uint32_t current_time_manuel = HAL_GetTick();

		if (current_time_manuel - last_can_send_time_manuel >= 5) {
			can_bus_send_FSIC_SetDriveEnable(1, 1, &hcan2);  // INV1 drive enable
			can_bus_send_FSIC_SetDriveEnable(2, 1, &hcan2);  // INV2 drive enable

			// Pedal -> throttle map -> limits -> ramps -> digital BSPD (last), see throttle_control.h
			throttle_control_update(&result, bspd_state.bspd_active, (const FSIC_t*) &myFSIC1, (const FSIC_t*) &myFSIC2, ivt.result_W, current_time_manuel);
			throttle_control_send(&hcan2, current_time_manuel);

			can_bus_send_bms_close_contactors(1, &hcan2);
			last_can_send_time_manuel = current_time_manuel;
		}
		break;

	case STATE_READY_AUTONOMOUS:
		// Forward autonomous commands to inverter
		static uint32_t last_can_send_time_auto = 0;
		uint32_t current_time_auto = HAL_GetTick();

		if (current_time_auto - last_can_send_time_auto >= 10) {
			can_bus_send_FSIC_SetDriveEnable(1, 1, &hcan2);  // INV1 drive enable
			can_bus_send_FSIC_SetDriveEnable(2, 1, &hcan2);  // INV2 drive enable
			// finished
			if (as_system.state == 5) {
				can_bus_send_FSIC_SetERPM(1, 0, &hcan2);                                               // INV1 ERPM zero
				can_bus_send_FSIC_SetERPM(2, 0, &hcan2);                                               // INV2 ERPM zero
				can_send_vcu_rpm(&hcan3, (int32_t) myFSIC1.Actual_ERPM, (int32_t) myFSIC2.Actual_ERPM);  // feedback to jetson
				can_bus_send_bms_close_contactors(1, &hcan2);

				// driving
			} else if (as_system.state == 3) {
				// Signed: the CAN ISR may stamp a tick newer than current_time_auto
				if ((int32_t) (current_time_auto - as_system.last_control_cmd_ms) > AS_CMD_TIMEOUT_MS || bspd_state.bspd_active) {
					// Jetson silent or digital BSPD: zero current, the inverters must not keep the last command
					can_bus_send_FSIC_SetRelCurrent(1, 0, &hcan2);
					can_bus_send_FSIC_SetRelCurrent(2, 0, &hcan2);
				} else if (as_system.control_mode == AS_CONTROL_MODE_TORQUE) {
					// torque_target in % (-100..100) -> per mille: + drive (SetRelCurrent), - motor brake (SetRelBrakeCurrent)
					int32_t torque_1000 = (int32_t) as_system.target_torque * 10;
					if (torque_1000 > 1000) {
						torque_1000 = 1000;
					} else if (torque_1000 < -1000) {
						torque_1000 = -1000;
					}
					if (torque_1000 >= 0) {
						can_bus_send_FSIC_SetRelCurrent(1, torque_1000, &hcan2);
						can_bus_send_FSIC_SetRelCurrent(2, torque_1000, &hcan2);
					} else {
						can_bus_send_FSIC_SetRelBrakeCurrent(1, -torque_1000, &hcan2);
						can_bus_send_FSIC_SetRelBrakeCurrent(2, -torque_1000, &hcan2);
					}
				} else {
					if (as_system.target_rpm > MAX_RPM_AD) {
						as_system.target_rpm = MAX_RPM_AD;
					} else if (as_system.target_rpm < 0) {
						as_system.target_rpm = 0;
					}

					int32_t erpm = (int32_t) as_system.target_rpm * MOTOR_POLE_PAIRS;
					can_bus_send_FSIC_SetERPM(1, erpm, &hcan2);  // INV1 ERPM command
					can_bus_send_FSIC_SetERPM(2, erpm, &hcan2);  // INV2 ERPM command
				}
				can_send_vcu_rpm(&hcan3, (int32_t) myFSIC1.Actual_ERPM, (int32_t) myFSIC2.Actual_ERPM);  // feedback to jetson
				can_bus_send_bms_close_contactors(1, &hcan2);

				// printf("\n\rRPM: %d\n\r", myFSIC1.Actual_ERPM / 10);
				// printf("\n\rTarget RPM: %d\n\r", as_system.target_rpm);
			}

			last_can_send_time_auto = current_time_auto;
		}
		break;

	case STATE_AS_EMERGENCY:
		// Activate emergency indicators
		// Handle emergency state
		static uint32_t last_can_send_time_emergency = 0;
		uint32_t current_time_emergency = HAL_GetTick();
		if (current_time_emergency - last_can_send_time_emergency >= 1) {
			can_bus_send_bms_close_contactors(0, &hcan2);
			last_can_send_time_emergency = current_time_emergency;
		}
		HandleEmergencyStop();
		break;
	}
}
#pragma endregion HANDLE STATE

// Time-based debounce for R2D button

//---No longer needed - Comes in via CAN2----//
/*void debounce_r2d_button(void) {
 static uint32_t last_debounce_time = 0;
 static bool last_reading = false;
 static bool stable_state = false;

 bool current_reading = HAL_GPIO_ReadPin(int2_r2d_GPIO_Port, int2_r2d_Pin);

 // If state changed, reset debounce timer
 if (current_reading != last_reading) {
 last_debounce_time = HAL_GetTick();
 }

 // State is considered stable if it's been the same for the debounce delay
 if ((HAL_GetTick() - last_debounce_time) > 50) {  // 50ms debounce time
 // Only process state change when it's stable and different from previous
 if (current_reading != stable_state) {
 stable_state = current_reading;

 // Process rising edge (button press)
 if (stable_state && !vcu.r2d_button_prev) {
 vcu.r2d_toggle_signal = !vcu.r2d_toggle_signal;
 }

 vcu.r2d_button_prev = stable_state;
 }
 }

 // Save the reading for next comparison
 last_reading = current_reading;

 // Update raw signal for any code that needs it
 vcu.r2d_button_signal = stable_state;
 }*/

// Time-based debounce for shutdown signal
void debounce_shutdown_signal(void) {
	static uint32_t last_debounce_time = 0;
	static bool last_reading = false;
	static bool stable_state = false;

	bool current_reading = HAL_GPIO_ReadPin(int3_shutdown_signal_GPIO_Port, int3_shutdown_signal_Pin);

	// If state changed, reset debounce timer
	if (current_reading != last_reading) {
		last_debounce_time = HAL_GetTick();
	}

	// State is considered stable if it's been the same for the debounce delay
	if ((HAL_GetTick() - last_debounce_time) > SHUTDOWN_DEBOUNCE_TIME_MS) {
		// Update stable state only if it has been stable for the debounce time
		if (current_reading != stable_state) {
			stable_state = current_reading;
		}
	}

	// Save the reading for next comparison
	last_reading = current_reading;

	// Update VCU signal with debounced value
	vcu.shutdown_signal = stable_state;

#ifdef BYPASS_SHUTDOWN
    vcu.shutdown_signal = 1;  // Force shutdown signal high for bench testing
#endif
#ifdef BYPASS_SHUTDOWN_AUTONOMOUS
	if (acu.ASMS) {
		vcu.shutdown_signal = 1;  // Bench: SDC ignored in autonomous only (ASMS on)
	}
#endif
}

// Time-based debounce for ignition switch
// IGNITION DEBOUNCE LOGIC
/*void debounce_ignition_switch(void) {
 static uint32_t last_debounce_time = 0;
 static bool last_reading = false;
 static bool stable_state = false;

 bool current_reading = HAL_GPIO_ReadPin(int1_ign_GPIO_Port, int1_ign_Pin);

 // If state changed, reset debounce timer
 if (current_reading != last_reading) {
 last_debounce_time = HAL_GetTick();
 }

 // State is considered stable if it's been the same for the debounce delay
 if ((HAL_GetTick() - last_debounce_time) > IGNITION_DEBOUNCE_TIME_MS) {
 // Update stable state only if it has been stable for the debounce time
 if (current_reading != stable_state) {
 stable_state = current_reading;
 }
 }

 // Save the reading for next comparison
 last_reading = current_reading;

 // Update VCU signal with debounced value
 vcu.ignition_switch_signal = stable_state;
 }*/

/* -------------------- TIMED TASK FUNCTIONS -------------------- */

/**
 * @brief Execute 10ms tasks (100Hz)
 * @details High-frequency tasks that need precise timing
 */
void execute_10ms_tasks(void) {
	if ((HAL_GetTick() - last_apps_can_rx_time) > MAX_APPS_TIMEOUT_MS) {
		// at least cut off throttle...
		ADC2_APPS[0] = 0;
		ADC2_APPS[1] = 0;
		// Maybe trigger state emergency??
		// current_state = STATE_AS_EMERGENCY;
	}

	// if ((HAL_GetTick() - last_acu_can_rx_time) > 2000) {
	//     acu.ignition_ad = 0;  // ACU timeout fail-safe
	// }

	// MAYBE WE IMPLEMENT, IF THERES TIME (NOTE: CANT KILL IGNITION LIKE THAT!!)
	/*if ((HAL_GetTick() - last_r2d_ign_can_rx_time) > MAX_R2D_IGN_TIMEOUT_MS) {
	 vcu.r2d_button_signal = 0;
	 vcu.ignition_switch_signal = 0;
	 }*/

	// Rate limit telemetry CAN messages to 100Hz (10ms)
	static uint32_t last_telemetry_send_time = 0;
	uint32_t current_telemetry_time = HAL_GetTick();
	if (current_telemetry_time - last_telemetry_send_time >= 10) {
		// Send autonomous HV signal
		can_send_autonomous_HV_signal(&hcan3, bms.precharge_circuit_state, vcu.brake_pressure);

		can_bus_send_vcu_apps_raw(&hcan3, ADC2_APPS[0], ADC2_APPS[1], 0, 0, bspd_state.bspd_active, result.error_type, result.percentage_1000);

		// Wheel speed / steering values in every state (the control step only updates them in READY_MANUAL)
		vehicle_sensors_update((INVERTER_ID_REAR_LEFT == 1) ? myFSIC1.Actual_ERPM : myFSIC2.Actual_ERPM,
				(INVERTER_ID_REAR_LEFT == 1) ? myFSIC2.Actual_ERPM : myFSIC1.Actual_ERPM, current_telemetry_time);

		// Send VCU_state DBC message on CAN2 (via TX queue): state + traction control / torque vectoring debug
		can_bus_send_vcu_state();

		// Throttle percentage (APPS1 -> 0..100 %) on the data bus, AQT1 0x700
		can_bus_send_aqt1_throttle(&hcan1, APPS_ToThrottlePercent(apps_data.state.apps1_raw));

		last_telemetry_send_time = current_telemetry_time;
	}

#if print_apps
    APPS_PrintStatus();
#endif
}

/**
 * @brief Execute 100ms tasks (10Hz)
 * @details Medium-frequency tasks for sensor reading and logging
 */
void execute_100ms_tasks(void) {
	// Read brake pressure from ADC
	// NOW DONE BY CAN
	// vcu.brake_pressure = MeasureBrakePressure(ADC1_VAL[0]);
	turn_on_brake_light(vcu.brake_pressure);

	// Debug prints (uncomment if needed)
	// printf("\n\rBrake Pressure: %d\n\r", vcu.brake_pressure);
	// printf("\n\rbits ADC_brake_pressure: %d\n\r", ADC1_VAL[0]);

	can_send_vcu_ign_r2d_signals(&hcan3, vcu.ignition_switch_signal,                 // manual ignition
			(current_state == STATE_READY_MANUAL),      // manual R2D
			vcu.ignition_ad,                            // auto ignition
			(current_state == STATE_READY_AUTONOMOUS),  // auto R2D
			vcu.shutdown_signal,                        // shutdown signal
			(uint8_t) current_state);                    // VCU state

	// Filler frame on the IVT's own ID (0x524 / IVT_Msg_Result_U3) so the powertrain bus
	// never goes silent on this ID if the IVT drops out - some downstream board faults on
	// missing traffic there, not on payload content. Intentional ID reuse; sent slow (400ms)
	// to limit how often it collides with the real IVT frames while the IVT is alive.
	static uint32_t last_ivt_heartbeat_time = 0;
	uint32_t current_ivt_heartbeat_time = HAL_GetTick();
	/*if (current_ivt_heartbeat_time - last_ivt_heartbeat_time >= 400) {
	 uint8_t ivt_heartbeat_data[1] = {0x00};
	 can_bus_send(&hcan2, POWERTRAIN_T26_IVT_MSG_RESULT_U3_FRAME_ID, ivt_heartbeat_data, 1);
	 last_ivt_heartbeat_time = current_ivt_heartbeat_time;
	 }*/
	uint8_t ivt_heartbeat_data[1] = { 0x00 };
	can_bus_send(&hcan2, POWERTRAIN_T26_IVT_MSG_RESULT_U3_FRAME_ID, ivt_heartbeat_data, 1);
	last_ivt_heartbeat_time = current_ivt_heartbeat_time;

	// Send VCU telemetry frames in rotation (one different frame each time)
	static uint8_t frame_index = 0;

	switch (frame_index) {
	case 0:
		send_vcu_0(&hcan1, (const FSIC_t*) &myFSIC1);
		send_vcu_3(&hcan1, vcu.r2d_toggle_signal, vcu.ignition_switch_signal, vcu.r2d_autonomous_signal, vcu.ignition_ad, (const FSIC_t*) &myFSIC1);

		break;
	case 1:
		send_vcu_1(&hcan1, (const FSIC_t*) &myFSIC1, (const BMSvars_t*) &bms);
		can_bus_send_brake_pressure(&hcan1, vcu.brake_pressure);
		break;
	case 2:
		send_vcu_2(&hcan1, (const FSIC_t*) &myFSIC1);
		break;
	case 3:
		send_vcu_3(&hcan1, vcu.r2d_toggle_signal, vcu.ignition_switch_signal, vcu.r2d_autonomous_signal, vcu.ignition_ad, (const FSIC_t*) &myFSIC1);
		break;
	case 4:
		send_vcu_4(&hcan1, (const ACU_t*) &acu);
		break;
	}

	// Move to next frame for next execution (cycles through 0-4)
	frame_index = (frame_index + 1) % 5;
}

void process_can_rx_queues(void) {
	can_msg_t msg;

	/* CAN1 — Data bus */
	while (can_queue_pop(&can1_rx_queue, &msg)) {
		vehicle_sensors_can_receive(&msg);  // front wheel speeds (traction control, torque vectoring)
	}

	/* CAN2 — Powertrain */
	while (can_queue_pop(&can2_rx_queue, &msg)) {
		decode_powertrain_bus(&msg, (BMSvars_t*) &bms, (FSIC_t*) &myFSIC1, (FSIC_t*) &myFSIC2, (IVT_t*) &ivt);
		vehicle_sensors_can_receive(&msg);  // steering angle (redundant copy of the autonomous bus AQT4)
	}

	/* CAN3 — Autonomous */
	while (can_queue_pop(&can3_rx_queue, &msg)) {
		decode_autonomous_bus(&msg, (AS_System_t*) &as_system, (ACU_t*) &acu, (RES_t*) &res);
		vehicle_sensors_can_receive(&msg);  // steering angle
	}
}

/**
 * @brief Execute immediate tasks (every loop iteration)
 * @details Tasks that need to run as fast as possible
 */
void execute_immediate_tasks(void) {
	// Heartbeat LED indicator
	heartbeat_nonblocking(GPIOB, LED_Heartbeat_Pin);

	// Update state machine
	UpdateState();

	// Execute state-specific actions
	HandleState();
}

/* -------------------- COMMUNICATION FUNCTIONS -------------------- */

/**
 * @brief Redirect printf to UART
 */
PUTCHAR_PROTOTYPE {
	/* Place your implementation of fputc here */
	/* e.g. write a character to the USART1 and Loop until the end of transmission */
	HAL_UART_Transmit(&huart3, (uint8_t*) &ch, 1, 0xFFFF);

	return ch;
}

void HAL_CAN_RxFifo0MsgPendingCallback(CAN_HandleTypeDef *hcan) {
	can_driver_rx_isr(hcan);
}

#pragma region MAIN
/* USER CODE END 0 */

int main(void) {

	/* USER CODE BEGIN 1 */
	current_state = STATE_INIT;
	/* USER CODE END 1 */

	/* MPU Configuration--------------------------------------------------------*/
	MPU_Config();

	/* Enable the CPU Cache */

	/* Enable I-Cache---------------------------------------------------------*/
	SCB_EnableICache();

	/* Enable D-Cache---------------------------------------------------------*/
	SCB_EnableDCache();

	/* MCU Configuration--------------------------------------------------------*/

	/* Reset of all peripherals, Initializes the Flash interface and the Systick. */
	HAL_Init();

	/* USER CODE BEGIN Init */

	// HAL_ADC_Start_DMA(&hadc3, (uint32_t *)&adc_buffer, 5);
	// HAL_ADC_Start(&hadc3);
	/* USER CODE END Init */

	/* Configure the system clock */
	SystemClock_Config();

	/* Initialize all configured peripherals */
	MX_GPIO_Init();
	MX_DMA_Init();
	MX_USART1_UART_Init();
	MX_ADC1_Init();
	MX_CAN3_Init();
	MX_CAN1_Init();
	MX_CAN2_Init();
	MX_TIM1_Init();
	MX_TIM4_Init();
	MX_USART3_UART_Init();
	MX_TIM2_Init();
	/* USER CODE BEGIN 2 */
	APPS_Init();  // APPS calibration in APPS.h
	HAL_TIM_Base_Start_IT(&htim2);

	can_driver_init();

	startup_leds_animation();
	MovingAverage_Init();  // Initialize moving average buffers

	HAL_TIM_PWM_Start(&htim4, TIM_CHANNEL_1);
	//__HAL_TIM_SET_COMPARE(&htim4, TIM_CHANNEL_1, 2000);

	/* USER CODE END 2 */

	/* Infinite loop */
	/* USER CODE BEGIN WHILE */

	HAL_ADC_Start_DMA(&hadc1, (uint32_t*) ADC1_VAL, 4);
	// HAL_ADC_Start_DMA(&hadc2, ADC2_APPS, 2);  // Start ADC2 for APPS

	bspd_init(&bspd_state);
	res.signal = RES_SIGNAl_DEFAULT_1;  // start with a value different than 0 to avoid emergency state
	DBG_PRINTF("\n\n\n\n\n======================== RESET ========================\n\n\n\n\n\r");

	while (1) {
		/* USER CODE END WHILE */

		/* USER CODE BEGIN 3 */

		// Drain TX queues to hardware
		can_driver_tx_poll();

		// Process RX queues (decode in main context, not ISR)
		process_can_rx_queues();

		// Execute immediate tasks every loop iteration
		execute_immediate_tasks();

		// Timing-based tasks
		static uint32_t previous_tick_10ms = 0;
		static uint32_t previous_tick_100ms = 0;
		static uint32_t previous_tick_1s = 0;
		uint32_t current_tick = HAL_GetTick();

		// 10ms tasks (100Hz) - High frequency control tasks
		if (current_tick - previous_tick_10ms >= 10) {
			execute_10ms_tasks();
			previous_tick_10ms = current_tick;
		}

		// 100ms tasks (10Hz) - Medium frequency monitoring tasks
		if (current_tick - previous_tick_100ms >= 100) {
			execute_100ms_tasks();
			previous_tick_100ms = current_tick;
		}

		// Loop-counter and cycle stats
		loop_counter++;
		if (current_tick - previous_tick_1s >= 1000) {
			if (sec < TEST_TIMEFRAME_SECONDS) {
				loops_per_sec = loop_counter;
				loop_counter = 0;
				loop_DATA[sec] = loops_per_sec;
				sec++;
			}
			previous_tick_1s = current_tick;
		}
	}
	/* USER CODE END 3 */
}

void SystemClock_Config(void) {
	RCC_OscInitTypeDef RCC_OscInitStruct = { 0 };
	RCC_ClkInitTypeDef RCC_ClkInitStruct = { 0 };

	/** Configure the main internal regulator output voltage
	 */
	__HAL_RCC_PWR_CLK_ENABLE();
	__HAL_PWR_VOLTAGESCALING_CONFIG(PWR_REGULATOR_VOLTAGE_SCALE1);

	/** Initializes the RCC Oscillators according to the specified parameters
	 * in the RCC_OscInitTypeDef structure.
	 */
	RCC_OscInitStruct.OscillatorType = RCC_OSCILLATORTYPE_HSE;
	RCC_OscInitStruct.HSEState = RCC_HSE_ON;
	RCC_OscInitStruct.PLL.PLLState = RCC_PLL_ON;
	RCC_OscInitStruct.PLL.PLLSource = RCC_PLLSOURCE_HSE;
	RCC_OscInitStruct.PLL.PLLM = 4;
	RCC_OscInitStruct.PLL.PLLN = 216;
	RCC_OscInitStruct.PLL.PLLP = RCC_PLLP_DIV2;
	RCC_OscInitStruct.PLL.PLLQ = 2;
	RCC_OscInitStruct.PLL.PLLR = 2;
	if (HAL_RCC_OscConfig(&RCC_OscInitStruct) != HAL_OK) {
		Error_Handler();
	}

	/** Activate the Over-Drive mode
	 */
	if (HAL_PWREx_EnableOverDrive() != HAL_OK) {
		Error_Handler();
	}

	/** Initializes the CPU, AHB and APB buses clocks
	 */
	RCC_ClkInitStruct.ClockType = RCC_CLOCKTYPE_HCLK | RCC_CLOCKTYPE_SYSCLK | RCC_CLOCKTYPE_PCLK1 | RCC_CLOCKTYPE_PCLK2;
	RCC_ClkInitStruct.SYSCLKSource = RCC_SYSCLKSOURCE_PLLCLK;
	RCC_ClkInitStruct.AHBCLKDivider = RCC_SYSCLK_DIV1;
	RCC_ClkInitStruct.APB1CLKDivider = RCC_HCLK_DIV4;
	RCC_ClkInitStruct.APB2CLKDivider = RCC_HCLK_DIV2;

	if (HAL_RCC_ClockConfig(&RCC_ClkInitStruct, FLASH_LATENCY_7) != HAL_OK) {
		Error_Handler();
	}
}

/* USER CODE BEGIN 4 */
/* Timer interrupt callback */
void HAL_TIM_PeriodElapsedCallback(TIM_HandleTypeDef *htim) {
	MovingAverage_Update(ADC2_APPS[0], ADC2_APPS[1]);
	result = APPS_Process(apps2_avg, apps1_avg);

	// Digital BSPD - always active. Only updates bspd_state here; throttle_control applies
	// it LAST, overriding every other torque decision.
	bspd_process(&bspd_state, vcu.brake_pressure, result.percentage_1000, HAL_GetTick());
}
/* USER CODE END 4 */

/* MPU Configuration */

void MPU_Config(void) {
	MPU_Region_InitTypeDef MPU_InitStruct = { 0 };

	/* Disables the MPU */
	HAL_MPU_Disable();

	/** Initializes and configures the Region and the memory to be protected
	 */
	MPU_InitStruct.Enable = MPU_REGION_ENABLE;
	MPU_InitStruct.Number = MPU_REGION_NUMBER0;
	MPU_InitStruct.BaseAddress = 0x30000000;
	MPU_InitStruct.Size = MPU_REGION_SIZE_32B;
	MPU_InitStruct.SubRegionDisable = 0x0;
	MPU_InitStruct.TypeExtField = MPU_TEX_LEVEL0;
	MPU_InitStruct.AccessPermission = MPU_REGION_NO_ACCESS;
	MPU_InitStruct.DisableExec = MPU_INSTRUCTION_ACCESS_DISABLE;
	MPU_InitStruct.IsShareable = MPU_ACCESS_SHAREABLE;
	MPU_InitStruct.IsCacheable = MPU_ACCESS_NOT_CACHEABLE;
	MPU_InitStruct.IsBufferable = MPU_ACCESS_NOT_BUFFERABLE;

	HAL_MPU_ConfigRegion(&MPU_InitStruct);
	/* Enables the MPU */
	HAL_MPU_Enable(MPU_PRIVILEGED_DEFAULT);

}

void Error_Handler(void) {
	__disable_irq();
	while (1) {
	}
}
